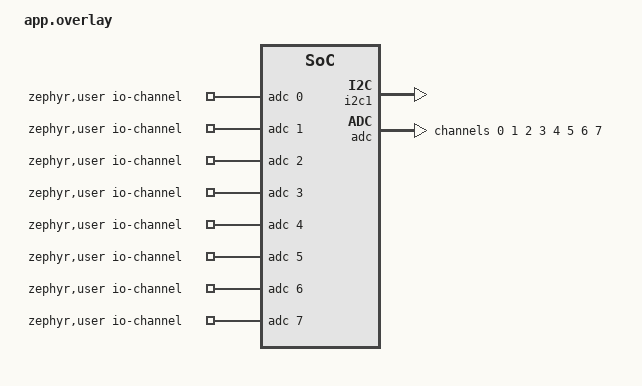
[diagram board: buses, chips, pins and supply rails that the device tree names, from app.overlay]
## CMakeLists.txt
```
#
# Copyright (c) 2018 Nordic Semiconductor
#
# SPDX-License-Identifier: LicenseRef-Nordic-5-Clause
#
cmake_minimum_required(VERSION 3.20.0)

find_package(Zephyr REQUIRED HINTS $ENV{ZEPHYR_BASE})
project(peripheral_uart)

# Add the src directory to include path
target_include_directories(app PRIVATE ${CMAKE_CURRENT_SOURCE_DIR}/src)
target_sources(app PRIVATE
  src/main.c
  src/adc.c
  # src/BMP280.c
  # src/i2c.c
  # src/MLX90614.c
  # src/MPU6050.c
)

# # NORDIC SDK APP START
# target_sources(app PRIVATE
#   src/main.c
# )

# NORDIC SDK APP END
```

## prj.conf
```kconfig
#
# Copyright (c) 2018 Nordic Semiconductor
#
# SPDX-License-Identifier: LicenseRef-Nordic-5-Clause
#

# Enable the UART driver
CONFIG_UART_ASYNC_API=y
CONFIG_NRFX_UARTE0=y
CONFIG_ADC=y
CONFIG_GPIO=y

# Make sure printk is printing to the UART console
CONFIG_CONSOLE=y
CONFIG_UART_CONSOLE=y

CONFIG_HEAP_MEM_POOL_SIZE=2048

CONFIG_BT=y
CONFIG_BT_PERIPHERAL=y
CONFIG_BT_DEVICE_NAME="Nordic_UART_Service"
CONFIG_BT_MAX_CONN=1
CONFIG_BT_MAX_PAIRED=1

# Enable the NUS service
CONFIG_BT_NUS=y

# Enable bonding
CONFIG_BT_SETTINGS=y
CONFIG_FLASH=y
CONFIG_FLASH_PAGE_LAYOUT=y
CONFIG_FLASH_MAP=y
CONFIG_NVS=y
CONFIG_SETTINGS=y

# Enable DK LED and Buttons library
CONFIG_DK_LIBRARY=y

# This example requires more stack
CONFIG_MAIN_STACK_SIZE=1152
CONFIG_SYSTEM_WORKQUEUE_STACK_SIZE=2048

# Config logger
CONFIG_LOG=y
CONFIG_USE_SEGGER_RTT=y
CONFIG_LOG_BACKEND_RTT=y
CONFIG_LOG_BACKEND_UART=n
CONFIG_LOG_PRINTK=n

CONFIG_ASSERT=n
CONFIG_I2C=y
CONFIG_I2C_NRFX=y
CONFIG_SERIAL=y
CONFIG_PRINTK=y
CONFIG_GPIO=y
CONFIG_UART_CONSOLE=y
CONFIG_ADC=y
CONFIG_ADC_NRFX_SAADC=y
CONFIG_PRINTK=y
CONFIG_CBPRINTF_FP_SUPPORT=y
CONFIG_SHELL=y
CONFIG_I2C_SHELL=y
CONFIG_DK_LIBRARY=y
CONFIG_UART_ASYNC_API=y
CONFIG_UART_INTERRUPT_DRIVEN=y
CONFIG_NRFX_UARTE0=y
CONFIG_CONSOLE=y
CONFIG_HEAP_MEM_POOL_SIZE=2048
CONFIG_BT=y
CONFIG_BT_PERIPHERAL=y
CONFIG_BT_DEVICE_NAME="Nordic_UART_Service"
CONFIG_BT_MAX_CONN=1
CONFIG_BT_MAX_PAIRED=1
CONFIG_BT_NUS=y
CONFIG_BT_SETTINGS=y
CONFIG_FLASH=y
CONFIG_FLASH_PAGE_LAYOUT=y
CONFIG_FLASH_MAP=y
CONFIG_NVS=y
CONFIG_SETTINGS=y
CONFIG_DK_LIBRARY=y
CONFIG_MAIN_STACK_SIZE=1152
CONFIG_SYSTEM_WORKQUEUE_STACK_SIZE=2048
CONFIG_LOG=y
CONFIG_USE_SEGGER_RTT=y
CONFIG_LOG_BACKEND_RTT=y
CONFIG_LOG_BACKEND_UART=n
CONFIG_LOG_PRINTK=n
CONFIG_ASSERT=n
```

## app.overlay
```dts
/*
 * Copyright (c) 2022 Nordic Semiconductor ASA
 *
 * SPDX-License-Identifier: LicenseRef-Nordic-5-Clause
 */
//  &i2c1{
// 	status = "okay";
//  };

/ {
	
	zephyr,user {
		// List all channels for io-channels
		io-channels = <&adc 0>, <&adc 1>, <&adc 2>, <&adc 3>,
		              <&adc 4>, <&adc 5>, <&adc 6>, <&adc 7>;
	};
	chosen {
		nordic,nus-uart = &uart0;
	};

};
 &i2c1{
	status = "okay";
 };

&adc {
	#address-cells = <1>;
	#size-cells = <0>;
	status = "okay";

	// Define ADC channels
	channel@0 {
		reg = <0>;
		zephyr,gain = "ADC_GAIN_1_6";
		zephyr,reference = "ADC_REF_INTERNAL";
		zephyr,acquisition-time = <ADC_ACQ_TIME_DEFAULT>;
		zephyr,input-positive = <NRF_SAADC_AIN0>; /* P0.02 */
		zephyr,resolution = <12>;
	};

	channel@1 {
		reg = <1>;
		zephyr,gain = "ADC_GAIN_1_6";
		zephyr,reference = "ADC_REF_INTERNAL";
		zephyr,acquisition-time = <ADC_ACQ_TIME_DEFAULT>;
		zephyr,input-positive = <NRF_SAADC_AIN1>; /* P0.03 */
		zephyr,resolution = <12>;
	};

	channel@2 {
		reg = <2>;
		zephyr,gain = "ADC_GAIN_1_6";
		zephyr,reference = "ADC_REF_INTERNAL";
		zephyr,acquisition-time = <ADC_ACQ_TIME_DEFAULT>;
		zephyr,input-positive = <NRF_SAADC_AIN2>; /* P0.04 */
		zephyr,resolution = <12>;
	};

	channel@3 {
		reg = <3>;
		zephyr,gain = "ADC_GAIN_1_6";
		zephyr,reference = "ADC_REF_INTERNAL";
		zephyr,acquisition-time = <ADC_ACQ_TIME_DEFAULT>;
		zephyr,input-positive = <NRF_SAADC_AIN3>; /* P0.05 */
		zephyr,resolution = <12>;
	};

	channel@4 {
		reg = <4>;
		zephyr,gain = "ADC_GAIN_1_6";
		zephyr,reference = "ADC_REF_INTERNAL";
		zephyr,acquisition-time = <ADC_ACQ_TIME_DEFAULT>;
		zephyr,input-positive = <NRF_SAADC_AIN4>; /* P0.28 */
		zephyr,resolution = <12>;
	};

	channel@5 {
		reg = <5>;
		zephyr,gain = "ADC_GAIN_1_6";
		zephyr,reference = "ADC_REF_INTERNAL";
		zephyr,acquisition-time = <ADC_ACQ_TIME_DEFAULT>;
		zephyr,input-positive = <NRF_SAADC_AIN5>; /* P0.29 */
		zephyr,resolution = <12>;
	};

	channel@6 {
		reg = <6>;
		zephyr,gain = "ADC_GAIN_1_6";
		zephyr,reference = "ADC_REF_INTERNAL";
		zephyr,acquisition-time = <ADC_ACQ_TIME_DEFAULT>;
		zephyr,input-positive = <NRF_SAADC_AIN6>; /* P0.30 */
		zephyr,resolution = <12>;
	};

	channel@7 {
		reg = <7>;
		zephyr,gain = "ADC_GAIN_1_6";
		zephyr,reference = "ADC_REF_INTERNAL";
		zephyr,acquisition-time = <ADC_ACQ_TIME_DEFAULT>;
		zephyr,input-positive = <NRF_SAADC_AIN7>; /* P0.31 */
		zephyr,resolution = <12>;
	};
};
```

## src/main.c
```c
/*
 * Copyright (c) 2018 Nordic Semiconductor ASA
 *
 * SPDX-License-Identifier: LicenseRef-Nordic-5-Clause
 */

/** @file
 *  @brief Nordic UART Bridge Service (NUS) sample
 */
// #include <uart_async_adapter.h>

// #include <zephyr/types.h>
// #include <zephyr/kernel.h>
// #include <zephyr/drivers/uart.h>
// #include <zephyr/usb/usb_device.h>

// #include <zephyr/device.h>
// #include <zephyr/devicetree.h>
// #include <soc.h>

// #include <zephyr/bluetooth/bluetooth.h>
// #include <zephyr/bluetooth/uuid.h>
// #include <zephyr/bluetooth/gatt.h>
// #include <zephyr/bluetooth/hci.h>

// #include <bluetooth/services/nus.h>

// #include <dk_buttons_and_leds.h>

// #include <zephyr/settings/settings.h>

// #include <stdio.h>
// #include <string.h>

// #include <zephyr/logging/log.h>

// #include <bluetooth/services/nus.h>

// #include <zephyr/kernel.h>
// #include <zephyr/device.h>
// #include <zephyr/devicetree.h>
// #include <zephyr/drivers/adc.h>
#include "adc.h"

#include "MPU6050.h"
#include "MLX90614.h"
#include "BMP280.h"
#include "i2c.h"
#define LOG_MODULE_NAME peripheral_uart
LOG_MODULE_REGISTER(LOG_MODULE_NAME);

#define STACKSIZE CONFIG_BT_NUS_THREAD_STACK_SIZE
#define PRIORITY 7

#define DEVICE_NAME CONFIG_BT_DEVICE_NAME
#define DEVICE_NAME_LEN	(sizeof(DEVICE_NAME) - 1)

#define RUN_STATUS_LED DK_LED1
#define RUN_LED_BLINK_INTERVAL 1000

#define CON_STATUS_LED DK_LED2

#define KEY_PASSKEY_ACCEPT DK_BTN1_MSK
#define KEY_PASSKEY_REJECT DK_BTN2_MSK

#define UART_BUF_SIZE CONFIG_BT_NUS_UART_BUFFER_SIZE
#define UART_WAIT_FOR_BUF_DELAY K_MSEC(50)
#define UART_WAIT_FOR_RX CONFIG_BT_NUS_UART_RX_WAIT_TIME
// Define the interval at which to send the message (e.g., every 5 seconds)
#define MESSAGE_INTERVAL K_MSEC(5000)


//------------
// #define ADC_REF_VOLTAGE_MV 600 // Internal reference in mV
// #define ADC_GAIN (1.0 / 6.0)    // Gain of 1/6
// #define ADC_RESOLUTION 4096     // 12-bit resolution

// /* ADC channel configuration via Device Tree */
// static const struct adc_dt_spec adc_channel = ADC_DT_SPEC_GET(DT_PATH(zephyr_user));

// /* ADC buffer and sequence configuration */
// static int16_t buf;
// static struct adc_sequence sequence = {
//     .buffer = &buf,
//     .buffer_size = sizeof(buf), 
//     /* Optional calibration */
//     //.calibrate = true,
// };

// int32_t convert_to_mv(int16_t raw_value) {
//     return (int32_t)((raw_value * ADC_REF_VOLTAGE_MV * (1.0 / ADC_GAIN)) / ADC_RESOLUTION);
// }
//--------------

static K_SEM_DEFINE(ble_init_ok, 0, 1);

static struct bt_conn *current_conn;
static struct bt_conn *auth_conn;

static const struct device *uart = DEVICE_DT_GET(DT_CHOSEN(nordic_nus_uart));
static struct k_work_delayable uart_work;

struct uart_data_t {
	void *fifo_reserved;
	uint8_t data[UART_BUF_SIZE];
	uint16_t len;
};

static K_FIFO_DEFINE(fifo_uart_tx_data);
static K_FIFO_DEFINE(fifo_uart_rx_data);

static const struct bt_data ad[] = {
	BT_DATA_BYTES(BT_DATA_FLAGS, (BT_LE_AD_GENERAL | BT_LE_AD_NO_BREDR)),
	BT_DATA(BT_DATA_NAME_COMPLETE, DEVICE_NAME, DEVICE_NAME_LEN),
};

static const struct bt_data sd[] = {
	BT_DATA_BYTES(BT_DATA_UUID128_ALL, BT_UUID_NUS_VAL),
};

#ifdef CONFIG_UART_ASYNC_ADAPTER
UART_ASYNC_ADAPTER_INST_DEFINE(async_adapter);
#else
#define async_adapter NULL
#endif

static void uart_cb(const struct device *dev, struct uart_event *evt, void *user_data)
{
	ARG_UNUSED(dev);

	static size_t aborted_len;
	struct uart_data_t *buf;
	static uint8_t *aborted_buf;
	static bool disable_req;

	switch (evt->type) {
	case UART_TX_DONE:
		LOG_DBG("UART_TX_DONE");
		if ((evt->data.tx.len == 0) ||
		    (!evt->data.tx.buf)) {
			return;
		}

		if (aborted_buf) {
			buf = CONTAINER_OF(aborted_buf, struct uart_data_t,
					   data[0]);
			aborted_buf = NULL;
			aborted_len = 0;
		} else {
			buf = CONTAINER_OF(evt->data.tx.buf, struct uart_data_t,
					   data[0]);
		}

		k_free(buf);

		buf = k_fifo_get(&fifo_uart_tx_data, K_NO_WAIT);
		if (!buf) {
			return;
		}

		if (uart_tx(uart, buf->data, buf->len, SYS_FOREVER_MS)) {
			LOG_WRN("Failed to send data over UART");
		}

		break;

	case UART_RX_RDY:
		LOG_DBG("UART_RX_RDY");
		buf = CONTAINER_OF(evt->data.rx.buf, struct uart_data_t, data[0]);
		buf->len += evt->data.rx.len;

		if (disable_req) {
			return;
		}

		if ((evt->data.rx.buf[buf->len - 1] == '\n') ||
		    (evt->data.rx.buf[buf->len - 1] == '\r')) {
			disable_req = true;
			uart_rx_disable(uart);
		}

		break;

	case UART_RX_DISABLED:
		LOG_DBG("UART_RX_DISABLED");
		disable_req = false;

		buf = k_malloc(sizeof(*buf));
		if (buf) {
			buf->len = 0;
		} else {
			LOG_WRN("Not able to allocate UART receive buffer");
			k_work_reschedule(&uart_work, UART_WAIT_FOR_BUF_DELAY);
			return;
		}

		uart_rx_enable(uart, buf->data, sizeof(buf->data),
			       UART_WAIT_FOR_RX);

		break;

	case UART_RX_BUF_REQUEST:
		LOG_DBG("UART_RX_BUF_REQUEST");
		buf = k_malloc(sizeof(*buf));
		if (buf) {
			buf->len = 0;
			uart_rx_buf_rsp(uart, buf->data, sizeof(buf->data));
		} else {
			LOG_WRN("Not able to allocate UART receive buffer");
		}

		break;

	case UART_RX_BUF_RELEASED:
		LOG_DBG("UART_RX_BUF_RELEASED");
		buf = CONTAINER_OF(evt->data.rx_buf.buf, struct uart_data_t,
				   data[0]);

		if (buf->len > 0) {
			k_fifo_put(&fifo_uart_rx_data, buf);
		} else {
			k_free(buf);
		}

		break;

	case UART_TX_ABORTED:
		LOG_DBG("UART_TX_ABORTED");
		if (!aborted_buf) {
			aborted_buf = (uint8_t *)evt->data.tx.buf;
		}

		aborted_len += evt->data.tx.len;
		buf = CONTAINER_OF((void *)aborted_buf, struct uart_data_t,
				   data);

		uart_tx(uart, &buf->data[aborted_len],
			buf->len - aborted_len, SYS_FOREVER_MS);

		break;

	default:
		break;
	}
}

static void uart_work_handler(struct k_work *item)
{
	struct uart_data_t *buf;

	buf = k_malloc(sizeof(*buf));
	if (buf) {
		buf->len = 0;
	} else {
		LOG_WRN("Not able to allocate UART receive buffer");
		k_work_reschedule(&uart_work, UART_WAIT_FOR_BUF_DELAY);
		return;
	}

	uart_rx_enable(uart, buf->data, sizeof(buf->data), UART_WAIT_FOR_RX);
}

static bool uart_test_async_api(const struct device *dev)
{
	const struct uart_driver_api *api =
			(const struct uart_driver_api *)dev->api;

	return (api->callback_set != NULL);
}

static int uart_init(void)
{
	int err;
	int pos;
	struct uart_data_t *rx;
	struct uart_data_t *tx;

	if (!device_is_ready(uart)) {
		return -ENODEV;
	}

	if (IS_ENABLED(CONFIG_USB_DEVICE_STACK)) {
		err = usb_enable(NULL);
		if (err && (err != -EALREADY)) {
			LOG_ERR("Failed to enable USB");
			printk("failed");
			return err;
		}
	}

	rx = k_malloc(sizeof(*rx));
	if (rx) {
		rx->len = 0;
	} else {
		return -ENOMEM;
	}

	k_work_init_delayable(&uart_work, uart_work_handler);


	if (IS_ENABLED(CONFIG_UART_ASYNC_ADAPTER) && !uart_test_async_api(uart)) {
		/* Implement API adapter */
		uart_async_adapter_init(async_adapter, uart);
		uart = async_adapter;
	}

	err = uart_callback_set(uart, uart_cb, NULL);
	if (err) {
		k_free(rx);
		LOG_ERR("Cannot initialize UART callback");
		printk("failed callback");
		return err;
	}

	if (IS_ENABLED(CONFIG_UART_LINE_CTRL)) {
		LOG_INF("Wait for DTR");
		while (true) {
			uint32_t dtr = 0;

			uart_line_ctrl_get(uart, UART_LINE_CTRL_DTR, &dtr);
			if (dtr) {
				break;
			}
			/* Give CPU resources to low priority threads. */
			k_sleep(K_MSEC(100));
		}
		LOG_INF("DTR set");
		err = uart_line_ctrl_set(uart, UART_LINE_CTRL_DCD, 1);
		if (err) {
			printk("failed DCD");
			LOG_WRN("Failed to set DCD, ret code %d", err);
		}
		err = uart_line_ctrl_set(uart, UART_LINE_CTRL_DSR, 1);
		if (err) {
			printk("failed DSR");
			LOG_WRN("Failed to set DSR, ret code %d", err);
		}
	}

	tx = k_malloc(sizeof(*tx));

	if (tx) {
		pos = snprintf(tx->data, sizeof(tx->data),
			       "Starting Nordic UART service example\r\n");

		if ((pos < 0) || (pos >= sizeof(tx->data))) {
			k_free(rx);
			k_free(tx);
			LOG_ERR("snprintf returned %d", pos);
			return -ENOMEM;
		}

		tx->len = pos;
	} else {
		k_free(rx);
		return -ENOMEM;
	}

	err = uart_tx(uart, tx->data, tx->len, SYS_FOREVER_MS);
	if (err) {
		k_free(rx);
		k_free(tx);
		LOG_ERR("Cannot display welcome message (err: %d)", err);
		printk("failed display");
	}

	err = uart_rx_enable(uart, rx->data, sizeof(rx->data), UART_WAIT_FOR_RX);
	if (err) {
		LOG_ERR("Cannot enable uart reception (err: %d)", err);
		printk("failed uart receptions");
		/* Free the rx buffer only because the tx buffer will be handled in the callback */
		k_free(rx);
	}

	return err;
}

static void connected(struct bt_conn *conn, uint8_t err)
{
	char addr[BT_ADDR_LE_STR_LEN];

	if (err) {
		LOG_ERR("Connection failed (err %u)", err);
		return;
	}

	bt_addr_le_to_str(bt_conn_get_dst(conn), addr, sizeof(addr));
	printk("Connected %s\n", addr);
	LOG_INF("Connected %s", addr);

	current_conn = bt_conn_ref(conn);

	dk_set_led_on(CON_STATUS_LED);
}

static void disconnected(struct bt_conn *conn, uint8_t reason)
{
	char addr[BT_ADDR_LE_STR_LEN];

	bt_addr_le_to_str(bt_conn_get_dst(conn), addr, sizeof(addr));
	printk("Disconnected: %s (reason %u)", addr, reason);
	LOG_INF("Disconnected: %s (reason %u)", addr, reason);

	if (auth_conn) {
		bt_conn_unref(auth_conn);
		auth_conn = NULL;
	}

	if (current_conn) {
		bt_conn_unref(current_conn);
		current_conn = NULL;
		dk_set_led_off(CON_STATUS_LED);
	}
}

#ifdef CONFIG_BT_NUS_SECURITY_ENABLED
static void security_changed(struct bt_conn *conn, bt_security_t level,
			     enum bt_security_err err)
{
	char addr[BT_ADDR_LE_STR_LEN];

	bt_addr_le_to_str(bt_conn_get_dst(conn), addr, sizeof(addr));

	if (!err) {
		LOG_INF("Security changed: %s level %u", addr, level);
	} else {
		LOG_WRN("Security failed: %s level %u err %d", addr,
			level, err);
	}
}
#endif

BT_CONN_CB_DEFINE(conn_callbacks) = {
	.connected    = connected,
	.disconnected = disconnected,
#ifdef CONFIG_BT_NUS_SECURITY_ENABLED
	.security_changed = security_changed,
#endif
};

#if defined(CONFIG_BT_NUS_SECURITY_ENABLED)
static void auth_passkey_display(struct bt_conn *conn, unsigned int passkey)
{
	char addr[BT_ADDR_LE_STR_LEN];

	bt_addr_le_to_str(bt_conn_get_dst(conn), addr, sizeof(addr));

	LOG_INF("Passkey for %s: %06u", addr, passkey);
}

static void auth_passkey_confirm(struct bt_conn *conn, unsigned int passkey)
{
	char addr[BT_ADDR_LE_STR_LEN];

	auth_conn = bt_conn_ref(conn);

	bt_addr_le_to_str(bt_conn_get_dst(conn), addr, sizeof(addr));

	LOG_INF("Passkey for %s: %06u", addr, passkey);
	LOG_INF("Press Button 1 to confirm, Button 2 to reject.");
}


static void auth_cancel(struct bt_conn *conn)
{
	char addr[BT_ADDR_LE_STR_LEN];

	bt_addr_le_to_str(bt_conn_get_dst(conn), addr, sizeof(addr));

	LOG_INF("Pairing cancelled: %s", addr);
}


static void pairing_complete(struct bt_conn *conn, bool bonded)
{
	char addr[BT_ADDR_LE_STR_LEN];

	bt_addr_le_to_str(bt_conn_get_dst(conn), addr, sizeof(addr));
	printf("Pairing completed: %s, bonded: %d", addr, bonded);
	LOG_INF("Pairing completed: %s, bonded: %d", addr, bonded);
}


static void pairing_failed(struct bt_conn *conn, enum bt_security_err reason)
{
	char addr[BT_ADDR_LE_STR_LEN];

	bt_addr_le_to_str(bt_conn_get_dst(conn), addr, sizeof(addr));

	LOG_INF("Pairing failed conn: %s, reason %d", addr, reason);
}


static struct bt_conn_auth_cb conn_auth_callbacks = {
	.passkey_display = auth_passkey_display,
	.passkey_confirm = auth_passkey_confirm,
	.cancel = auth_cancel,
};

static struct bt_conn_auth_info_cb conn_auth_info_callbacks = {
	.pairing_complete = pairing_complete,
	.pairing_failed = pairing_failed
};
#else
static struct bt_conn_auth_cb conn_auth_callbacks;
static struct bt_conn_auth_info_cb conn_auth_info_callbacks;
#endif

static void bt_receive_cb(struct bt_conn *conn, const uint8_t *const data,
			  uint16_t len)
{
	int err;
	char addr[BT_ADDR_LE_STR_LEN] = {0};

	bt_addr_le_to_str(bt_conn_get_dst(conn), addr, ARRAY_SIZE(addr));

	LOG_INF("Received data from: %s", addr);

	for (uint16_t pos = 0; pos != len;) {
		struct uart_data_t *tx = k_malloc(sizeof(*tx));

		if (!tx) {
			LOG_WRN("Not able to allocate UART send data buffer");
			return;
		}

		/* Keep the last byte of TX buffer for potential LF char. */
		size_t tx_data_size = sizeof(tx->data) - 1;

		if ((len - pos) > tx_data_size) {
			tx->len = tx_data_size;
		} else {
			tx->len = (len - pos);
		}

		memcpy(tx->data, &data[pos], tx->len);

		pos += tx->len;

		/* Append the LF character when the CR character triggered
		 * transmission from the peer.
		 */
		if ((pos == len) && (data[len - 1] == '\r')) {
			tx->data[tx->len] = '\n';
			tx->len++;
		}

		err = uart_tx(uart, tx->data, tx->len, SYS_FOREVER_MS);
		if (err) {
			k_fifo_put(&fifo_uart_tx_data, tx);
		}
	}
}

static struct bt_nus_cb nus_cb = {
	.received = bt_receive_cb,
};

void error(void)
{
	dk_set_leds_state(DK_ALL_LEDS_MSK, DK_NO_LEDS_MSK);

	while (true) {
		/* Spin for ever */
		k_sleep(K_MSEC(1000));
	}
}

#ifdef CONFIG_BT_NUS_SECURITY_ENABLED
static void num_comp_reply(bool accept)
{
	if (accept) {
		bt_conn_auth_passkey_confirm(auth_conn);
		LOG_INF("Numeric Match, conn %p", (void *)auth_conn);
	} else {
		bt_conn_auth_cancel(auth_conn);
		LOG_INF("Numeric Reject, conn %p", (void *)auth_conn);
	}

	bt_conn_unref(auth_conn);
	auth_conn = NULL;
}

void button_changed(uint32_t button_state, uint32_t has_changed)
{
	uint32_t buttons = button_state & has_changed;
	printf("button changed");
	if (auth_conn) {
		if (buttons & KEY_PASSKEY_ACCEPT) {
			num_comp_reply(true);
		}

		if (buttons & KEY_PASSKEY_REJECT) {
			num_comp_reply(false);
		}
	}
}
#endif /* CONFIG_BT_NUS_SECURITY_ENABLED */

static void configure_gpio(void)
{
	int err;

#ifdef CONFIG_BT_NUS_SECURITY_ENABLED
	err = dk_buttons_init(button_changed);
	if (err) {
		LOG_ERR("Cannot init buttons (err: %d)", err);
	}
#endif /* CONFIG_BT_NUS_SECURITY_ENABLED */

	err = dk_leds_init();
	if (err) {
		LOG_ERR("Cannot init LEDs (err: %d)", err);
	} 
}



void send_message_to_bluetooth(const char *msg)
{ //printk("Sending Message.\n");
    struct uart_data_t nus_data = {
        .len = 0,
    };

    int plen = strlen(msg);
    int loc = 0;

    // Copy the message into the nus_data buffer
    while (plen > 0) {
        memcpy(&nus_data.data[nus_data.len], &msg[loc], plen);
        nus_data.len += plen;
        loc += plen;

        if (nus_data.len >= sizeof(nus_data.data) || 
            (nus_data.data[nus_data.len - 1] == '\n') || 
            (nus_data.data[nus_data.len - 1] == '\r')) {
            // Send data over BLE connection
            if (bt_nus_send(NULL, nus_data.data, nus_data.len)) {
                LOG_WRN("Failed to send data over BLE connection");
            }
            nus_data.len = 0;
        }
        plen = 0;  // Just one loop, since we're copying the whole message
    }
}


int main(void)
{
    int blink_status = 0;
    int err = 0;

    configure_gpio();

    printk("Hi.\n");
    
    // Initialize UART
    err = uart_init();
    if (err) {
		printk("error.\n");
        error();
    }

    // Register authorization callbacks if security is enabled
    if (IS_ENABLED(CONFIG_BT_NUS_SECURITY_ENABLED)) {
        err = bt_conn_auth_cb_register(&conn_auth_callbacks);
        if (err) {
            printk("Failed to register authorization callbacks.\n");
            return 0;
        }

        err = bt_conn_auth_info_cb_register(&conn_auth_info_callbacks);
        if (err) {
            printk("Failed to register authorization info callbacks.\n");
            return 0;
        }
    }

    // Initialize Bluetooth stack
    err = bt_enable(NULL);
    if (err) {
        error();
    }

    LOG_INF("Bluetooth initialized");

    // Once Bluetooth is initialized, allow the Bluetooth system to continue with tasks
    k_sem_give(&ble_init_ok);

    // Load settings if needed
    if (IS_ENABLED(CONFIG_SETTINGS)) {
        settings_load();
    }

    // Initialize the Nordic UART Service (NUS)
    err = bt_nus_init(&nus_cb);
    if (err) {
        LOG_ERR("Failed to initialize UART service (err: %d)", err);
        return 0;
    }

    // Start Bluetooth advertising
    err = bt_le_adv_start(BT_LE_ADV_CONN, ad, ARRAY_SIZE(ad), sd, ARRAY_SIZE(sd));
    if (err) {
        LOG_ERR("Advertising failed to start (err %d)", err);
        return 0;
    }
	printk("started pairing\n");
    LOG_INF("Advertising started");


	//----------------------
	    /* Verify ADC readiness */
    adc_init();
	//i2c_init();
	//-------------------------
    // Main loop to blink LED to indicate status
    for (;;) {
		printk("Getting Data.\n");
        get_adc_data();
		//i2c_read_data();
		// err1 = adc_read(adc_channel.dev, &sequence);
        // if (err1 < 0) {
        //     printf("ADC read failed (%d)\n", err);
        // } else {
        //     int32_t val_mv = convert_to_mv(buf);
        //     //printf("Raw ADC value: %d\n", buf);
        //     uint32_t timestamp = k_uptime_get(); // Get the current uptime in milliseconds
        //    // printf("%u %d\n", timestamp, val_mv);
        //     char message[50]; // Buffer to hold the formatted string
		// 	snprintf(message, sizeof(message), "%d\r\n", val_mv);
		// 	send_message_to_bluetooth(message);
        // }
        dk_set_led(RUN_STATUS_LED, (++blink_status) % 2);
		
        k_sleep(K_MSEC(100));
    }

}


void ble_write_thread(void)
{
	/* Don't go any further until BLE is initialized */
	k_sem_take(&ble_init_ok, K_FOREVER);
	struct uart_data_t nus_data = {
		.len = 0,
	};

	for (;;) {
		/* Wait indefinitely for data to be sent over bluetooth */
		struct uart_data_t *buf = k_fifo_get(&fifo_uart_rx_data,
						     K_FOREVER);

		int plen = MIN(sizeof(nus_data.data) - nus_data.len, buf->len);
		int loc = 0;

		while (plen > 0) {
			memcpy(&nus_data.data[nus_data.len], &buf->data[loc], plen);
			nus_data.len += plen;
			loc += plen;

			if (nus_data.len >= sizeof(nus_data.data) ||
			   (nus_data.data[nus_data.len - 1] == '\n') ||
			   (nus_data.data[nus_data.len - 1] == '\r')) {
				if (bt_nus_send(NULL, nus_data.data, nus_data.len)) {
					LOG_WRN("Failed to send data over BLE connection");
				}
				nus_data.len = 0;
			}

			plen = MIN(sizeof(nus_data.data), buf->len - loc);
		}

		k_free(buf);
	}
}

K_THREAD_DEFINE(ble_write_thread_id, STACKSIZE, ble_write_thread, NULL, NULL,
		NULL, PRIORITY, 0, 0);
```

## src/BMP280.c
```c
#include <zephyr/device.h>
#include <zephyr/drivers/i2c.h>
#include <zephyr/sys/printk.h>
#include <zephyr/kernel.h>
#include "bmp280.h"
#include "i2c.h"

// Calibration parameters
uint16_t dig_T1;
int16_t dig_T2, dig_T3;
uint16_t dig_P1;
int16_t dig_P2, dig_P3, dig_P4, dig_P5, dig_P6, dig_P7, dig_P8, dig_P9;
int32_t t_fine;

void bmp280_init(const struct device *i2c_dev) {
    uint8_t chip_id;

    // Read Chip ID
    if (i2c_read_register(i2c_dev, BMP280_ADDR, BMP280_REG_CHIPID, &chip_id) != 0 || chip_id != 0x58) {
        printk("Error: BMP280 not detected or invalid Chip ID\n");
        return;
    }
    printk("BMP280 detected. Chip ID: 0x%x\n", chip_id);

    // Reset the sensor
    i2c_write_register(i2c_dev, BMP280_ADDR, BMP280_REG_SOFTRESET, 0xB6);
    k_sleep(K_MSEC(100));

    // Read calibration data
    uint8_t calib_data[24];
    if (i2c_read_registers(i2c_dev, BMP280_ADDR, BMP280_REG_CALIB_START, calib_data, sizeof(calib_data)) != 0) {
        printk("Error: Failed to read calibration data\n");
        return;
    }

    // Parse calibration data
    dig_T1 = (calib_data[1] << 8) | calib_data[0];
    dig_T2 = (calib_data[3] << 8) | calib_data[2];
    dig_T3 = (calib_data[5] << 8) | calib_data[4];
    dig_P1 = (calib_data[7] << 8) | calib_data[6];
    dig_P2 = (calib_data[9] << 8) | calib_data[8];
    dig_P3 = (calib_data[11] << 8) | calib_data[10];
    dig_P4 = (calib_data[13] << 8) | calib_data[12];
    dig_P5 = (calib_data[15] << 8) | calib_data[14];
    dig_P6 = (calib_data[17] << 8) | calib_data[16];
    dig_P7 = (calib_data[19] << 8) | calib_data[18];
    dig_P8 = (calib_data[21] << 8) | calib_data[20];
    dig_P9 = (calib_data[23] << 8) | calib_data[22];

    // Configure sensor: normal mode, oversampling x1 for temp & pressure
    uint8_t ctrl_meas = (0x01 << 5) | (0x01 << 2) | 0x03;
    i2c_write_register(i2c_dev, BMP280_ADDR, BMP280_REG_CONTROL, ctrl_meas);
    i2c_write_register(i2c_dev, BMP280_ADDR, BMP280_REG_CONFIG, 0);
}

void read_bmp280_data(const struct device *i2c_dev) {
    uint8_t data[6];

    if (i2c_read_registers(i2c_dev, BMP280_ADDR, BMP280_REG_PRESSURE_MSB, data, sizeof(data)) != 0) {
        printk("Error: Failed to read BMP280 data\n");
        return;
    }

    int32_t adc_T = (data[3] << 12) | (data[4] << 4) | (data[5] >> 4);
    int32_t adc_P = (data[0] << 12) | (data[1] << 4) | (data[2] >> 4);

    // Temperature compensation
    int32_t var1 = ((((adc_T >> 3) - ((int32_t)dig_T1 << 1))) * ((int32_t)dig_T2)) >> 11;
    int32_t var2 = (((((adc_T >> 4) - ((int32_t)dig_T1)) * ((adc_T >> 4) - ((int32_t)dig_T1))) >> 12) * ((int32_t)dig_T3)) >> 14;
    t_fine = var1 + var2;
    float celsius = ((t_fine * 5 + 128) >> 8) / 100.0f;
    float fahrenheit =(celsius *  1.8) + 32.0;

    // Pressure compensation
    int64_t var1_p = ((int64_t)t_fine) - 128000;
    int64_t var2_p = var1_p * var1_p * (int64_t)dig_P6 + ((var1_p * (int64_t)dig_P5) << 17) + (((int64_t)dig_P4) << 35);
    var1_p = (((var1_p * var1_p * (int64_t)dig_P3) >> 8) + ((var1_p * (int64_t)dig_P2) << 12));
    var1_p = ((((int64_t)1 << 47) + var1_p) * (int64_t)dig_P1) >> 33;

    if (var1_p == 0) {
        printk("Error: Division by zero in pressure calculation\n");
        return;
    }

    int64_t p = ((((int64_t)1048576 - adc_P) << 31) - var2_p) * 3125 / var1_p;
    var1_p = (((int64_t)dig_P9) * (p >> 13) * (p >> 13)) >> 25;
    var2_p = (((int64_t)dig_P8) * p) >> 19;
    p = ((p + var1_p + var2_p) >> 8) + (((int64_t)dig_P7) << 4);

    float pressure = p / 25600.0f;  // Convert to hPa

    printk("Temperature: %.2f °C / %.2f °F, Pressure: %.2f hPa\n", celsius, fahrenheit, pressure);
}
```

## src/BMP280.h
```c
#ifndef BMP280_H
#define BMP280_H

#include <zephyr/device.h>
#include <zephyr/drivers/i2c.h>
#include <zephyr/sys/printk.h>
#include <zephyr/kernel.h>
#include <stdint.h>

// HOW TO CONNECT: (BMP --> Nordic)
// SCK --> Pin 27
// SDI --> Pin 26
// SDO --> GND (for I2C Address 0x76)    *VDO --> VDD (makes I2C address 0x77)*
// CS --> VDD
// 3Vo --> VDD
// GND --> GND

#define BMP280_ADDR 0x76  // Adjust to 0x77 if SDO pin is high

// BMP280 Register Addresses
#define BMP280_REG_CALIB_START    0x88
#define BMP280_REG_CHIPID         0xD0
#define BMP280_REG_SOFTRESET      0xE0
#define BMP280_REG_CONTROL        0xF4
#define BMP280_REG_CONFIG         0xF5
#define BMP280_REG_PRESSURE_MSB   0xF7
#define BMP280_REG_TEMPERATURE_MSB 0xFA

void bmp280_init(const struct device *i2c_dev);
void read_bmp280_data(const struct device *i2c_dev);

#endif
```

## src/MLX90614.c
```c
#include <zephyr/device.h>
#include <zephyr/drivers/i2c.h>
#include <zephyr/sys/printk.h>
#include <zephyr/kernel.h>
#include "mlx90614.h"
#include "i2c.h"

int read_mlx90614_register(const struct device *i2c_dev, uint8_t reg_addr, uint16_t *data) {
    uint8_t buffer[3];
    int ret = i2c_write_read(i2c_dev, MLX90614_ADDR, &reg_addr, 1, buffer, 3);
    if (ret < 0) {
        return ret;
    }
    *data = (buffer[0] | (buffer[1] << 8)); // Combine high and low byte
    return 0;
}

void read_mlx90614_data(const struct device *i2c_dev) {
    uint16_t ambient_temp_raw, object_temp_raw;
    float ambient_temp, object_temp;

    // Read ambient temperature
    if (read_mlx90614_register(i2c_dev, MLX90614_TA, &ambient_temp_raw) == 0) {
        ambient_temp = ambient_temp_raw * 0.02 - 273.15; // Convert to Celsius
        printk("Ambient Temperature: %.2f °C\n", ambient_temp);
    } else {
        printk("Failed to read ambient temperature\n");
    }

    // Read object temperature
    if (read_mlx90614_register(i2c_dev, MLX90614_TOBJ1, &object_temp_raw) == 0) {
        object_temp = object_temp_raw * 0.02 - 273.15; // Convert to Celsius
        printk("Object Temperature: %.2f °C\n", object_temp);
    } else {
        printk("Failed to read object temperature\n");
    }
}
```

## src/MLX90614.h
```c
#ifndef MLX90614_H
#define MLX90614_H

#include <zephyr/device.h>
#include <zephyr/drivers/i2c.h>
#include <zephyr/sys/printk.h>
#include <zephyr/kernel.h>
#include <stdint.h>
#include <stdio.h>
#include <stdlib.h>

// MLX90614 Registers
#define MLX90614_ADDR 0x5A // Default I2C address of MLX90614
#define MLX90614_TA 0x06 // Ambient temperature register
#define MLX90614_TOBJ1 0x07 // Object 1 temperature register

int read_mlx90614_register(const struct device *i2c_dev, uint8_t reg_addr, uint16_t *data);
void read_mlx90614_data(const struct device *i2c_dev);

#endif
```

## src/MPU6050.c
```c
#include <zephyr/device.h>
#include <zephyr/drivers/i2c.h>
#include <zephyr/sys/printk.h>
#include <zephyr/kernel.h>
#include "mpu6050.h"
#include "i2c.h"

void mpu6050_init(const struct device *i2c_dev) {
    uint8_t device_id;

    // Read device_id register
    if (i2c_read_register(i2c_dev, MPU6050_ADDR, DEVICE_ID, &device_id) != 0) {
        printk("MPU6050 not detected! (device_id: 0x%02X)\n", device_id);
        return;
    }

    printk("MPU6050 detected (device_id: 0x%02X)\n", device_id);
    k_msleep(100);

    // Wake up MPU6050 by writing 0x00 to PWR_MGMT_1
    if (i2c_write_register(i2c_dev, MPU6050_ADDR, PWR_MGMT_1, 0x00) != 0) {
        printk("Failed to wake up MPU6050\n");
    } else {
        printk("MPU6050 initialized successfully\n");
    }
}

// Function to read and print MPU6050 data with string conversion for float
void read_mpu6050_data(const struct device *i2c_dev) {
    int16_t accel_x, accel_y, accel_z;
    int16_t gyro_x, gyro_y, gyro_z;
    uint8_t data[6];

    // Read accelerometer data (6 bytes)
    if (i2c_read_registers(i2c_dev, MPU6050_ADDR, ACCEL_XOUT_H, data, 6) == 0) {
        accel_x = (int16_t)((data[0] << 8) | data[1]); // Combine high and low byte
        accel_y = (int16_t)((data[2] << 8) | data[3]);
        accel_z = (int16_t)((data[4] << 8) | data[5]);

        // Print raw accelerometer values for debugging
        //printk("Raw Accelerometer (int16_t): X=%d, Y=%d, Z=%d\n", accel_x, accel_y, accel_z);

        float accel_x_float = (float)accel_x / 16384.0f; // Convert to float
        float accel_y_float = (float)accel_y / 16384.0f;
        float accel_z_float = (float)accel_z / 16384.0f;

        printk("Accelerometer (g): X=%.4f, Y=%.4f, Z=%.4f\n", accel_x_float, accel_y_float, accel_z_float);

    } else {
        printk("Failed to read accelerometer data\n");
    }

    // Read gyroscope data (6 bytes)
    if (i2c_read_registers(i2c_dev, MPU6050_ADDR, GYRO_XOUT_H, data, 6) == 0) {
        gyro_x = (int16_t)((data[0] << 8) | data[1]);
        gyro_y = (int16_t)((data[2] << 8) | data[3]);
        gyro_z = (int16_t)((data[4] << 8) | data[5]);

        // Print raw gyroscope values for debugging
        //printk("Raw Gyroscope (int16_t): X=%d, Y=%d, Z=%d\n", gyro_x, gyro_y, gyro_z);
        float gyro_x_float = (float)gyro_x / 131.0f; // Convert to float
        float gyro_y_float = (float)gyro_y / 131.0f;
        float gyro_z_float = (float)gyro_z / 131.0f;

        printk("Gyroscope (°/s): X=%.4f, Y=%.4f, Z=%.4f\n", gyro_x_float, gyro_y_float, gyro_z_float);

    } else {
        printk("Failed to read gyroscope data\n");
    }
}
```

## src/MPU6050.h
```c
#ifndef MPU6050_H
#define MPU6050_H

#include <zephyr/device.h>
#include <zephyr/drivers/i2c.h>
#include <zephyr/sys/printk.h>
#include <zephyr/kernel.h>
#include <stdint.h>
#include <stdio.h>
#include <stdlib.h>

// MPU6050 Registers
#define MPU6050_ADDR 0x68          // Default I2C address of MPU6050
#define DEVICE_ID 0x75
#define PWR_MGMT_1   0x6B
#define ACCEL_XOUT_H 0x3B
#define GYRO_XOUT_H  0x43

void mpu6050_init(const struct device *i2c_dev);
void read_mpu6050_data(const struct device *i2c_dev);

#endif
```

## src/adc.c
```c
/*
 * Copyright (c) 2018 Nordic Semiconductor ASA
 *
 * SPDX-License-Identifier: LicenseRef-Nordic-5-Clause
 */

/** @file
 *  @brief Nordic UART Bridge Service (NUS) sample
 */
#include "adc.h"

#define ADC_REF_VOLTAGE_MV 600 // Internal reference in mV
#define ADC_GAIN (1.0 / 6.0)    // Gain of 1/6
#define ADC_RESOLUTION 4096     // 12-bit resolution
#define NUMOFADCCHANNELS 2
/* ADC channel configuration via Device Tree */


/* ADC buffer and sequence configuration */
static int16_t buf;
static struct adc_sequence sequence = {
    .buffer = &buf,
    .buffer_size = sizeof(buf), 
    /* Optional calibration */
    //.calibrate = true,
};

int32_t convert_to_mv(int16_t raw_value) {
    return (int32_t)((raw_value * ADC_REF_VOLTAGE_MV * (1.0 / ADC_GAIN)) / ADC_RESOLUTION);
}

void adc_init(){
	for(int i = 0; i < NUMOFADCCHANNELS; i++){
		int err;
		const struct adc_dt_spec *adc_channel = &adc_channels[i];
		if (!adc_is_ready_dt(adc_channel)) {
			printf("ADC controller device %s not ready\n", adc_channel->dev->name);
			return;
		}

		/* Configure ADC channel */
		int err1 = adc_channel_setup_dt(adc_channel);
		if (err1 < 0) {
			printf("Could not setup ADC channel (%d)\n", err);
			return;
		}

		/* Initialize ADC sequence */
		err1 = adc_sequence_init_dt(adc_channel, &sequence);
		if (err1 < 0) {
			printf("Could not initialize ADC sequence (%d)\n", err);
			return;
		}
	}
}

void get_adc_data() {
    for (int i = 0; i < NUMOFADCCHANNELS; i++) {
        const struct adc_dt_spec *adc_channel = &adc_channels[i];
        
        // Read ADC data for the current channel
        int err1 = adc_read(adc_channel->dev, &sequence);
        if (err1 < 0) {
            printf("ADC read failed for channel %d (%d)\n", i, err1);
        } else {
            // Convert the raw value to millivolts
            int32_t val_mv = convert_to_mv(buf);
            
            // Get the current uptime in milliseconds
            uint32_t timestamp = k_uptime_get();
            
            // Format the message to send via Bluetooth
            char message[50];
            //snprintf(message, sizeof(message), "Channel %d: %d mV, Timestamp: %u\r\n", i, val_mv, timestamp);
            snprintf(message, sizeof(message), "%d\r\n",val_mv);
            printf(message);
            // Send the message over Bluetooth
            send_message_to_bluetooth(message);
        }
    }
}
```

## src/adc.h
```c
#ifndef ADC_H
#define ADC_H


#include <uart_async_adapter.h>

#include <zephyr/types.h>
#include <zephyr/kernel.h>
#include <zephyr/drivers/uart.h>
#include <zephyr/usb/usb_device.h>

#include <zephyr/device.h>
#include <zephyr/devicetree.h>
#include <soc.h>

#include <zephyr/bluetooth/bluetooth.h>
#include <zephyr/bluetooth/uuid.h>
#include <zephyr/bluetooth/gatt.h>
#include <zephyr/bluetooth/hci.h>

#include <bluetooth/services/nus.h>

#include <dk_buttons_and_leds.h>

#include <zephyr/settings/settings.h>

#include <stdio.h>
#include <string.h>

#include <zephyr/logging/log.h>

#include <bluetooth/services/nus.h>

#include <zephyr/kernel.h>
#include <zephyr/device.h>
#include <zephyr/devicetree.h>
#include <zephyr/drivers/adc.h>

#define NUMOFADCCHANNELS 8
static const struct adc_dt_spec adc_channels[NUMOFADCCHANNELS] = {
    ADC_DT_SPEC_GET_BY_IDX(DT_PATH(zephyr_user), 0), // Channel 0
    ADC_DT_SPEC_GET_BY_IDX(DT_PATH(zephyr_user), 1), // Channel 1
    ADC_DT_SPEC_GET_BY_IDX(DT_PATH(zephyr_user), 2), // Channel 2
    ADC_DT_SPEC_GET_BY_IDX(DT_PATH(zephyr_user), 3), // Channel 3
    ADC_DT_SPEC_GET_BY_IDX(DT_PATH(zephyr_user), 4), // Channel 4
    ADC_DT_SPEC_GET_BY_IDX(DT_PATH(zephyr_user), 5), // Channel 5
    ADC_DT_SPEC_GET_BY_IDX(DT_PATH(zephyr_user), 6), // Channel 6
    ADC_DT_SPEC_GET_BY_IDX(DT_PATH(zephyr_user), 7), // Channel 7
};
int32_t convert_to_mv(int16_t raw_value);
void adc_init();

#endif
```

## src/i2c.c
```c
#include "i2c.h"
#include "BMP280.h"
#include "MPU6050.h"
#include "MLX90614.h"
#include <zephyr/device.h>
#include <zephyr/drivers/i2c.h>
#include <zephyr/sys/printk.h>
#include <zephyr/kernel.h>

const struct device *i2c_dev0 = DEVICE_DT_GET(DT_NODELABEL(i2c0));
const struct device *i2c_dev1 = DEVICE_DT_GET(DT_NODELABEL(i2c1));

int i2c_write_register(const struct device *i2c_dev, uint8_t dev_addr, uint8_t reg_addr, uint8_t data) {
    uint8_t buffer[2] = {reg_addr, data};
    return i2c_write(i2c_dev, buffer, sizeof(buffer), dev_addr);
}

int i2c_read_register(const struct device *i2c_dev, uint8_t dev_addr, uint8_t reg_addr, uint8_t *data) {
    return i2c_write_read(i2c_dev, dev_addr, &reg_addr, 1, data, 1);
}

int i2c_read_registers(const struct device *i2c_dev, uint8_t dev_addr, uint8_t reg_addr, uint8_t *data, size_t len) {
    return i2c_write_read(i2c_dev, dev_addr, &reg_addr, 1, data, len);
}

void i2c_init(void) {
    if (!device_is_ready(i2c_dev0)) {
        printk("I2C0 device not ready\n");
        return;
    }

    if (!device_is_ready(i2c_dev1)) {
        printk("I2C1 device not ready\n");
        return;
    }

    mpu6050_init(i2c_dev0);
    bmp280_init(i2c_dev1);
}

void i2c_read_data(void) {
    read_mpu6050_data(i2c_dev0);
    read_mlx90614_data(i2c_dev0);
    read_bmp280_data(i2c_dev1);

    
}
```

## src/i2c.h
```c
#ifndef I2C_H
#define I2C_H
#include <zephyr/device.h>
#include <zephyr/drivers/i2c.h>
#include <zephyr/sys/printk.h>
#include <zephyr/kernel.h>
#include <zephyr/device.h>
#include <stdint.h>
#include <stddef.h>

// General I2C read/write functions
int i2c_write_register(const struct device *i2c_dev, uint8_t dev_addr, uint8_t reg_addr, uint8_t data);
int i2c_read_register(const struct device *i2c_dev, uint8_t dev_addr, uint8_t reg_addr, uint8_t *data);
int i2c_read_registers(const struct device *i2c_dev, uint8_t dev_addr, uint8_t reg_addr, uint8_t *data, size_t len);
void i2c_init(void);
void i2c_read_data(void);

#endif
```
